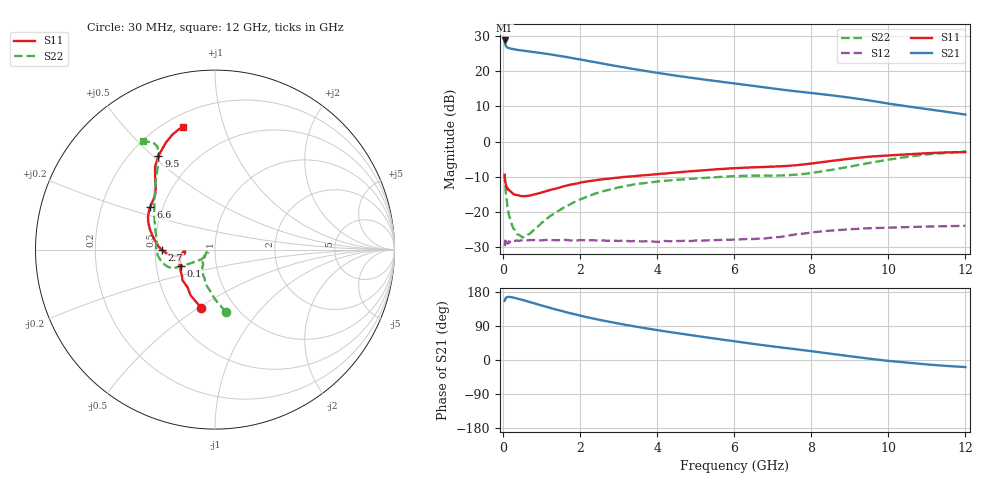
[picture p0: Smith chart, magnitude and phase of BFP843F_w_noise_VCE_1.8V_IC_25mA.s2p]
! Infineon Technologies  Discrete & RF Semiconductors
! BFP843F
! VCE =  1.8 V,  IC =  25 mA
! Common Emitter S-Parameters:  Aug 2013
# GHz  S  MA  R  50
!  f  S11  S21  S12  S22
! GHz  MAG  ANG  MAG  ANG  MAG  ANG  MAG  ANG
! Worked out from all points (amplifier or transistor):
!   103 points, 30 MHz to 12 GHz, reference 50 ohm
!   highest |S21| = 28.8 dB at 30 MHz (marker M1)
!   |S21| within 3 dB of that: start of sweep to 575 MHz
!   unconditionally stable (mu >= 1): 113.6 MHz to end of sweep
!   at 400 MHz: K = 1.02, MAG = 26.3 dB, |S12| = -28.3 dB
!   at 3.7 GHz: K = 1.25, MAG = 21.2 dB, |S12| = -28.4 dB
!   at 12 GHz: K = 1.20, MAG = 13.2 dB, |S12| = -24.0 dB
!   lowest NFmin = 0.98 dB at 450 MHz
!   S11 on the Smith chart (normalised r, x): 30 MHz: 0.70, -0.51; 100 MHz: 0.67, -0.13; 2.7 GHz: 0.55, -0.00; 6.6 GHz: 0.43, +0.25; 9.5 GHz: 0.31, +0.52; 12 GHz: 0.27, +0.74
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0.03  0.3324 -103.6  27.49 156.1  0.0324 23.2  0.3534 -80.1
0.04  0.2882 -118.4  25.19 158.2  0.0342 18.7  0.2753 -90.2
0.05  0.2605 -125.6  23.82 161.7  0.0389 18.6  0.2321 -96.8
0.07  0.2335 -142.2  22.63 164.2  0.0383 14.0  0.1703 -109.8
0.1  0.211 -154.6  21.86 166.0  0.0357 10.9  0.1218 -126.0
0.13  0.2042 -161.9  21.52 166.6  0.0375 12.6  0.0988 -135.4
0.2  0.1912 -171.9  20.94 165.9  0.0369 6.4  0.0707 -149.7
0.5  0.1666 -175.1  19.7 158.4  0.0393 3.8  0.043 -152.5
0.9  0.1816 -170.8  18.44 146.5  0.0392 3.4  0.0622 -142.9
1.2  0.2035 -169.8  17.48 137.9  0.04 3.1  0.0859 -144.3
1.6  0.2328 -171.6  16.09 127.0  0.0399 3.4  0.1184 -147.1
2.1  0.2663 -175.1  14.38 114.6  0.0393 4.0  0.1581 -151.2
2.7  0.2943 -179.6  12.5 101.8  0.0386 4.1  0.2025 -153.6
3.4  0.321 174.9  10.73 88.8  0.0384 7.3  0.2461 -155.8
4.1  0.3479 169.5  9.328 77.2  0.0374 9.3  0.2724 -158.7
5.1  0.386 161.2  7.785 62.2  0.0389 13.6  0.3 -166.3
6.1  0.4201 152.2  6.614 48.0  0.0403 17.7  0.3222 -176.0
6.6  0.431 146.7  6.087 41.0  0.0414 20.0  0.328 178.4
8.5  0.5279 129.2  4.567 16.6  0.054 23.9  0.3929 149.6
9.5  0.609 121.2  3.853 3.5  0.0584 20.4  0.4956 132.0
10.5  0.6576 114.4  3.165 -7.0  0.0605 18.2  0.6078 121.1
12  0.7073 104.5  2.422 -18.6  0.0633 18.9  0.7242 123.7
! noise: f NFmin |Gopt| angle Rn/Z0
0.45  0.98  0.13  176  0.14
0.9  0.99  0.14  178  0.15
1.5  1.02  0.16  -175  0.15
1.9  1.06  0.17  -172  0.15
2.4  1.09  0.18  -168  0.16
3.5  1.15  0.18  -165  0.21
5.5  1.25  0.23  -141  0.27
10  1.76  0.4  -102  0.36
